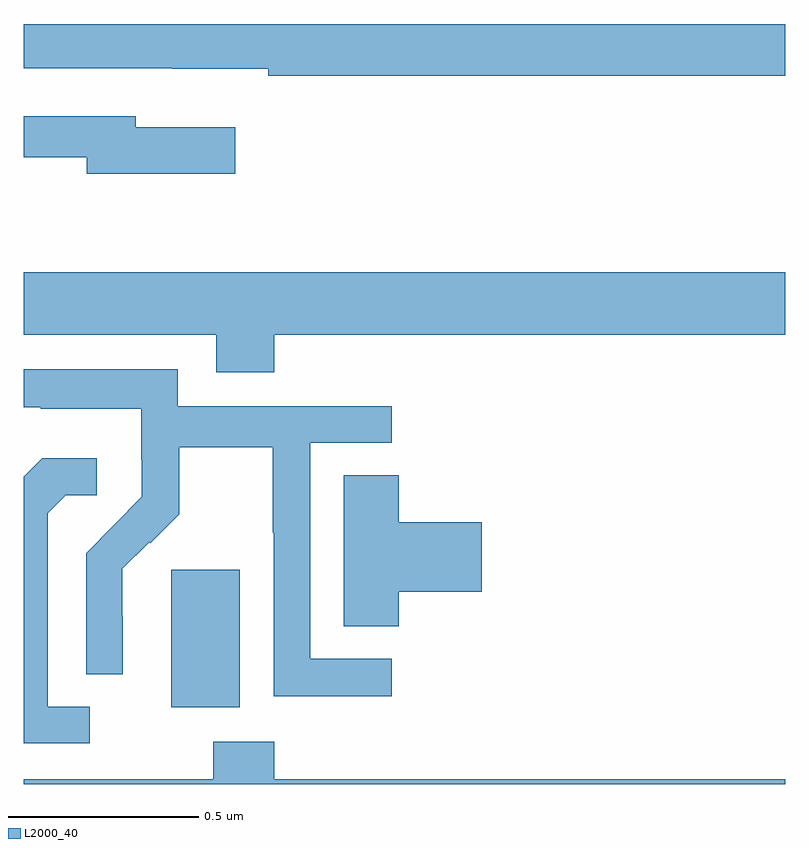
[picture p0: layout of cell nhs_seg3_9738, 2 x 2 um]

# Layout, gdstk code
import gdstk
lib = gdstk.Library(unit=1e-6, precision=1e-09)
def R(c, l, rs):  # rectangles x0, y0, x1, y1
    for r in rs: c.add(gdstk.rectangle(r[:2], r[2:], *l))
def P(c, l, *ps):  # polygons
    for p in ps: c.add(gdstk.Polygon(p, *l))
L2000_40 = (2000, 40)

nhs_seg3_9738 = lib.new_cell('nhs_seg3_9738')
R(nhs_seg3_9738, L2000_40, [(232.388,702.602,232.567,702.963)])
P(nhs_seg3_9738, L2000_40, [(234,704.396),(232,704.396),(232,704.28),(232.39,704.28),(232.39,704.279),(232.642,704.279),(232.642,704.26),(234,704.26)],
  [(232.555,704.125),(232.294,704.125),(232.294,704.154),(232,704.154),(232,704.046),(232.166,704.046),(232.166,704.003),(232.555,704.003)],
  [(232.658,703.58),(234,703.58),(234,703.744),(232,703.744),(232,703.58),(232.505,703.58),(232.505,703.481),(232.658,703.481)],
  [(232.966,702.729),(232.752,702.729),(232.752,703.296),(232.966,703.296),(232.966,703.392),(232.404,703.392),(232.404,703.489),(232,703.489),(232,703.389),(232.045,703.389),(232.045,703.385),(232.308,703.385),(232.308,703.251),(232.31,703.251),(232.31,703.154),(232.236,703.08),(232.237,703.079),(232.164,703.006),(232.164,702.688),(232.26,702.688),(232.26,702.842),(232.259,702.842),(232.259,702.965),(232.329,703.035),(232.332,703.032),(232.409,703.109),(232.409,703.284),(232.654,703.284),(232.654,703.06),(232.656,703.06),(232.656,702.631),(232.966,702.631)],
  [(232.174,702.603),(232.063,702.603),(232.063,703.111),(232.11,703.158),(232.192,703.158),(232.192,703.255),(232.048,703.255),(232,703.207),(232,702.507),(232.174,702.507)],
  [(232.985,702.905),(233.203,702.905),(233.203,703.088),(232.985,703.088),(232.985,703.211),(232.841,703.211),(232.841,702.814),(232.985,702.814)],
  [(234,702.412),(232.658,702.412),(232.658,702.511),(232.498,702.511),(232.498,702.412),(232,702.412),(232,702.4),(234,702.4)])

lib.write_gds('nhs_seg3_9738.gds')
